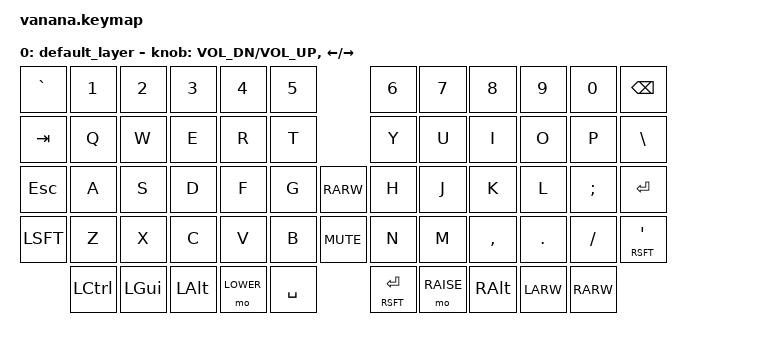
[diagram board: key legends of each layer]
/*
 * Copyright (c) 2020 dELLIKEEb
 *
 * SPDX-License-Identifier: MIT
 */

#include <behaviors.dtsi>
#include <dt-bindings/zmk/keys.h>
#include <dt-bindings/zmk/bt.h>
#include <dt-bindings/zmk/rgb.h>

// custom keycode defs for easier access
#define DEFAULT 0
#define MOD     1
#define MAC     2
#define LOWER   3
#define RAISE   4
#define ADJUST  5

// / {
//     behaviors {
//         hm: homerow_mods {
//             compatible = "zmk,behavior-hold-tap";
//             label = "homerow mods";
//             #binding-cells = <2>;
//             tapping_term_ms = <225>;
//             flavor = "tap-preferred";
//             bindings = <&kp>, <&kp>;
//         };
//     };
// };

// BASE
// ----------------------------------------------              -----------------------------------------------
// |   `   |   1  |   2  |   3  |   4   |   5   |              |   6   |   7   |   8  |   9  |   0   | Bksp  |
// ----------------------------------------------              -----------------------------------------------
// | Tab   |   Q  |   W  |   E  |   R   |   T   |              |   Y   |   U   |   I  |   O  |   P   | \     |
// ----------------------------------------------   ---------  -----------------------------------------------
// | Esc   |   A  |   S  |   D  |   F   |   G   |   | Right |  |   H   |   J   |   K  |   L  |   ;   | Enter |
// ----------------------------------------------   ---------  -----------------------------------------------
// | Shift |   Z  |   X  |   C  |   V   |   B   |   | Mute  |  |   N   |   M   |   ,  |   .  |   /   | "     |
// ----------------------------------------------   ---------  -----------------------------------------------
//         | Ctrl | GUI  |  Alt | Lower | Space |              | Enter | Raise | Alt  | Left | Right |
//         --------------------------------------              ---------------------------------------
// 
/ {
    keymap {
        compatible = "zmk,keymap";

        default_layer {
            bindings = <
                &kp GRAV    &kp N1      &kp N2      &kp N3      &kp N4    &kp N5                    &kp N6       &kp N7      &kp N8      &kp N9      &kp N0      &kp BKSP
                &kp TAB     &kp Q       &kp W       &kp E       &kp R     &kp T                     &kp Y        &kp U       &kp I       &kp O       &kp P       &kp BSLH
                &kp ESC     &kp A       &kp S       &kp D       &kp F     &kp G         &kp RARW    &kp H        &kp J       &kp K       &kp L       &kp SCLN    &kp RET
                &kp LSFT    &kp Z       &kp X       &kp C       &kp V     &kp B         &kp C_MUTE  &kp N        &kp M       &kp CMMA    &kp DOT     &kp FSLH    &mt RSFT SQT
                            &kp LCTL    &kp LGUI   &kp LALT     &mo LOWER &kp SPC                   &mt RSFT RET &mo RAISE   &kp RALT    &kp LARW    &kp RARW
            >;
            sensor-bindings = <&inc_dec_kp C_VOL_DN C_VOL_UP &inc_dec_kp LEFT RIGHT>;
        };
    };
};
